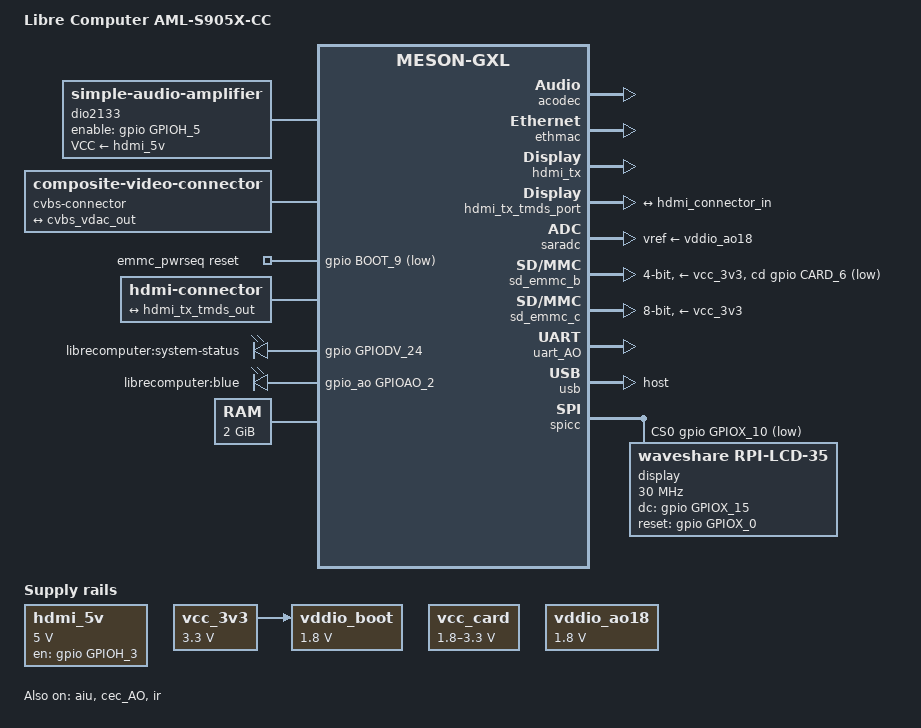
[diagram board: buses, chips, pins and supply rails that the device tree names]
// SPDX-License-Identifier: (GPL-2.0+ OR MIT)
/*
 * Copyright (c) 2017 BayLibre, SAS.
 * Author: Neil Armstrong <narmstrong@baylibre.com>
 * Author: Jerome Brunet <jbrunet@baylibre.com>
 */

/dts-v1/;

#include <dt-bindings/input/input.h>
#include <dt-bindings/sound/meson-aiu.h>

#include "meson-gxl-s905x.dtsi"

/ {
	compatible = "libretech,aml-s905x-cc", "amlogic,s905x",
		     "amlogic,meson-gxl";
	model = "Libre Computer AML-S905X-CC";

	aliases {
		serial0 = &uart_AO;
		ethernet0 = &ethmac;
	};

	dio2133: analog-amplifier {
		compatible = "simple-audio-amplifier";
		sound-name-prefix = "AU2";
		VCC-supply = <&hdmi_5v>;
		enable-gpios = <&gpio GPIOH_5 GPIO_ACTIVE_HIGH>;
	};

	chosen {
		stdout-path = "serial0:115200n8";
	};

	cvbs-connector {
		compatible = "composite-video-connector";

		port {
			cvbs_connector_in: endpoint {
				remote-endpoint = <&cvbs_vdac_out>;
			};
		};
	};

	emmc_pwrseq: emmc-pwrseq {
		compatible = "mmc-pwrseq-emmc";
		reset-gpios = <&gpio BOOT_9 GPIO_ACTIVE_LOW>;
	};

	hdmi-connector {
		compatible = "hdmi-connector";
		type = "a";

		port {
			hdmi_connector_in: endpoint {
				remote-endpoint = <&hdmi_tx_tmds_out>;
			};
		};
	};

	leds {
		compatible = "gpio-leds";

		led-system {
			label = "librecomputer:system-status";
			gpios = <&gpio GPIODV_24 GPIO_ACTIVE_HIGH>;
			default-state = "on";
			panic-indicator;
		};

		led-blue {
			label = "librecomputer:blue";
			gpios = <&gpio_ao GPIOAO_2 GPIO_ACTIVE_HIGH>;
			linux,default-trigger = "heartbeat";
		};
	};

	memory@0 {
		device_type = "memory";
		reg = <0x0 0x0 0x0 0x80000000>;
	};

	hdmi_5v: regulator-hdmi-5v {
		compatible = "regulator-fixed";

		regulator-name = "HDMI_5V";
		regulator-min-microvolt = <5000000>;
		regulator-max-microvolt = <5000000>;

		gpio = <&gpio GPIOH_3 GPIO_ACTIVE_HIGH>;
		enable-active-high;
		regulator-always-on;
	};

	vcc_3v3: regulator-vcc_3v3 {
		compatible = "regulator-fixed";
		regulator-name = "VCC_3V3";
		regulator-min-microvolt = <3300000>;
		regulator-max-microvolt = <3300000>;
	};

	vcc_card: regulator-vcc-card {
		compatible = "regulator-gpio";

		regulator-name = "VCC_CARD";
		regulator-min-microvolt = <1800000>;
		regulator-max-microvolt = <3300000>;

		gpios = <&gpio_ao GPIOAO_3 GPIO_ACTIVE_HIGH>;
		gpios-states = <0>;

		states = <3300000 0>,
			 <1800000 1>;

		regulator-settling-time-up-us = <200>;
		regulator-settling-time-down-us = <50000>;
	};

	vddio_ao18: regulator-vddio_ao18 {
		compatible = "regulator-fixed";
		regulator-name = "VDDIO_AO18";
		regulator-min-microvolt = <1800000>;
		regulator-max-microvolt = <1800000>;
	};

	/* This is provided by LDOs on the eMMC daugther card */
	vddio_boot: regulator-vddio_boot {
		compatible = "regulator-fixed";
		regulator-name = "VDDIO_BOOT";
		regulator-min-microvolt = <1800000>;
		regulator-max-microvolt = <1800000>;
		vin-supply = <&vcc_3v3>;
	};

	sound {
		compatible = "amlogic,gx-sound-card";
		model = "LIBRETECH-CC";
		audio-aux-devs = <&dio2133>;
		audio-widgets = "Line", "Lineout";
		audio-routing = "AU2 INL", "ACODEC LOLN",
				"AU2 INR", "ACODEC LORN",
				"Lineout", "AU2 OUTL",
				"Lineout", "AU2 OUTR";
		assigned-clocks = <&clkc CLKID_MPLL0>,
				  <&clkc CLKID_MPLL1>,
				  <&clkc CLKID_MPLL2>;
		assigned-clock-parents = <0>, <0>, <0>;
		assigned-clock-rates = <294912000>,
				       <270950400>,
				       <393216000>;
		status = "okay";

		dai-link-0 {
			sound-dai = <&aiu AIU_CPU CPU_I2S_FIFO>;
		};

		dai-link-1 {
			sound-dai = <&aiu AIU_CPU CPU_I2S_ENCODER>;
			dai-format = "i2s";
			mclk-fs = <256>;

			codec-0 {
				sound-dai = <&aiu AIU_HDMI CTRL_I2S>;
			};

			codec-1 {
				sound-dai = <&aiu AIU_ACODEC CTRL_I2S>;
			};
		};

		dai-link-2 {
			sound-dai = <&aiu AIU_HDMI CTRL_OUT>;

			codec-0 {
				sound-dai = <&hdmi_tx>;
			};
		};

		dai-link-3 {
			sound-dai = <&aiu AIU_ACODEC CTRL_OUT>;

			codec-0 {
				sound-dai = <&acodec>;
			};
		};
	};
};

&acodec {
	AVDD-supply = <&vddio_ao18>;
	status = "okay";
};

&aiu {
	status = "okay";
};

&cec_AO {
	status = "okay";
	pinctrl-0 = <&ao_cec_pins>;
	pinctrl-names = "default";
	hdmi-phandle = <&hdmi_tx>;
};

&cvbs_vdac_port {
	cvbs_vdac_out: endpoint {
		remote-endpoint = <&cvbs_connector_in>;
	};
};

&ethmac {
	status = "okay";
};

&internal_phy {
	pinctrl-0 = <&eth_link_led_pins>, <&eth_act_led_pins>;
	pinctrl-names = "default";
};

&ir {
	status = "okay";
	pinctrl-0 = <&remote_input_ao_pins>;
	pinctrl-names = "default";
};

&hdmi_tx {
	status = "okay";
	pinctrl-0 = <&hdmi_hpd_pins>, <&hdmi_i2c_pins>;
	pinctrl-names = "default";
	hdmi-supply = <&hdmi_5v>;
};

&hdmi_tx_tmds_port {
	hdmi_tx_tmds_out: endpoint {
		remote-endpoint = <&hdmi_connector_in>;
	};
};

&gpio_ao {
	gpio-line-names = "UART TX",
			  "UART RX",
			  "Blue LED",
			  "SDCard Voltage Switch",
			  "7J1 Header Pin5",
			  "7J1 Header Pin3",
			  "7J1 Header Pin12",
			  "IR In",
			  "9J3 Switch HDMI CEC/7J1 Header Pin11",
			  "7J1 Header Pin13",
			  /* GPIO_TEST_N */
			  "7J1 Header Pin15";
};

&gpio {
	gpio-line-names = /* Bank GPIOZ */
			  "", "", "", "", "", "", "",
			  "", "", "", "", "", "", "",
			  "Eth Link LED", "Eth Activity LED",
			  /* Bank GPIOH */
			  "HDMI HPD", "HDMI SDA", "HDMI SCL",
			  "HDMI_5V_EN", "9J1 Header Pin2",
			  "Analog Audio Mute",
			  "2J3 Header Pin6",
			  "2J3 Header Pin5",
			  "2J3 Header Pin4",
			  "2J3 Header Pin3",
			  /* Bank BOOT */
			  "eMMC D0", "eMMC D1", "eMMC D2", "eMMC D3",
			  "eMMC D4", "eMMC D5", "eMMC D6", "eMMC D7",
			  "eMMC Clk", "eMMC Reset", "eMMC CMD",
			  "ALT BOOT MODE", "", "", "", "eMMC Data Strobe",
			  /* Bank CARD */
			  "SDCard D1", "SDCard D0", "SDCard CLK", "SDCard CMD",
			  "SDCard D3", "SDCard D2", "SDCard Det",
			  /* Bank GPIODV */
			  "", "", "", "", "", "", "", "", "", "", "", "",
			  "", "", "", "", "", "", "", "", "", "", "", "",
			  "Green LED", "VCCK Enable",
			  "7J1 Header Pin27", "7J1 Header Pin28",
			  "VCCK Regulator", "VDDEE Regulator",
			  /* Bank GPIOX */
			  "7J1 Header Pin22", "7J1 Header Pin26",
			  "7J1 Header Pin36", "7J1 Header Pin38",
			  "7J1 Header Pin40", "7J1 Header Pin37",
			  "7J1 Header Pin33", "7J1 Header Pin35",
			  "7J1 Header Pin19", "7J1 Header Pin21",
			  "7J1 Header Pin24", "7J1 Header Pin23",
			  "7J1 Header Pin8", "7J1 Header Pin10",
			  "7J1 Header Pin16", "7J1 Header Pin18",
			  "7J1 Header Pin32", "7J1 Header Pin29",
			  "7J1 Header Pin31",
			  /* Bank GPIOCLK */
			  "7J1 Header Pin7", "";
};

&saradc {
	status = "okay";
	vref-supply = <&vddio_ao18>;
};

/* SD card */
&sd_emmc_b {
	status = "okay";
	pinctrl-0 = <&sdcard_pins>;
	pinctrl-1 = <&sdcard_clk_gate_pins>;
	pinctrl-names = "default", "clk-gate";

	bus-width = <4>;
	cap-sd-highspeed;
	max-frequency = <50000000>;
	disable-wp;

	cd-gpios = <&gpio CARD_6 GPIO_ACTIVE_LOW>;

	vmmc-supply = <&vcc_3v3>;
	vqmmc-supply = <&vcc_card>;
};

/* eMMC */
&sd_emmc_c {
	status = "okay";
	pinctrl-0 = <&emmc_pins>, <&emmc_ds_pins>;
	pinctrl-1 = <&emmc_clk_gate_pins>;
	pinctrl-names = "default", "clk-gate";

	bus-width = <8>;
	cap-mmc-highspeed;
	mmc-ddr-1_8v;
	mmc-hs200-1_8v;
	max-frequency = <200000000>;
	disable-wp;

	mmc-pwrseq = <&emmc_pwrseq>;
	vmmc-supply = <&vcc_3v3>;
	vqmmc-supply = <&vddio_boot>;
};

&uart_AO {
	status = "okay";
	pinctrl-0 = <&uart_ao_a_pins>;
	pinctrl-names = "default";
};

&usb {
	status = "okay";
	dr_mode = "host";
};

&usb2_phy0 {
	/*
	 * even though the schematics don't show it:
	 * HDMI_5V is also used as supply for the USB VBUS.
	 */
	phy-supply = <&hdmi_5v>;
};

&spicc {
	status = "okay";
	pinctrl-0 = <&spi_pins>;
	pinctrl-1 = <&spi_pins>, <&spi_idle_high_pins>;
	pinctrl-2 = <&spi_pins>, <&spi_idle_low_pins>;
	pinctrl-names = "default", "idle-high", "idle-low";

	cs-gpios = <&gpio GPIOX_10 GPIO_ACTIVE_LOW>, <&gpio GPIOX_1 GPIO_ACTIVE_LOW>;

	display@0 {
		compatible = "waveshare,rpi-lcd-35", "ilitek,ili9486";
		reg = <0>;
		buswidth = <8>;
		spi-max-frequency = <30000000>;
		dc-gpios = <&gpio GPIOX_15 GPIO_ACTIVE_HIGH>;
		reset-gpios = <&gpio GPIOX_0 GPIO_ACTIVE_HIGH>;
		//rotation = <0>;
		rotate = <0x5a>;
		status = "okay";
		txbuflen = <0x8000>;
		bgr = <0x00>;
		fps = <0x1e>;
		//init = <0x10000f1 0x36 0x04 0x00 0x3c 0x0f 0x8f 0x10000f2 0x18 0xa3 0x12 0x02 0xb2 0x12 0xff 0x10 0x00 0x10000f8 0x21 0x04 0x10000f9 0x00 0x08 0x1000036 0x08 0x10000b4 0x00 0x10000c1 0x41 0x10000c5 0x00 0x91 0x80 0x00 0x10000e0 0x0f 0x1f 0x1c 0x0c 0x0f 0x08 0x48 0x98 0x37 0x0a 0x13 0x04 0x11 0x0d 0x00 0x10000e1 0x0f 0x32 0x2e 0x0b 0x0d 0x05 0x47 0x75 0x37 0x06 0x10 0x03 0x24 0x20 0x00 0x100003a 0x55 0x1000011 0x1000036 0x28 0x20000ff 0x1000029>;
		//spi-max-frequency = <0xf42400>;
		regwidth = <0x10>;
	};
};
